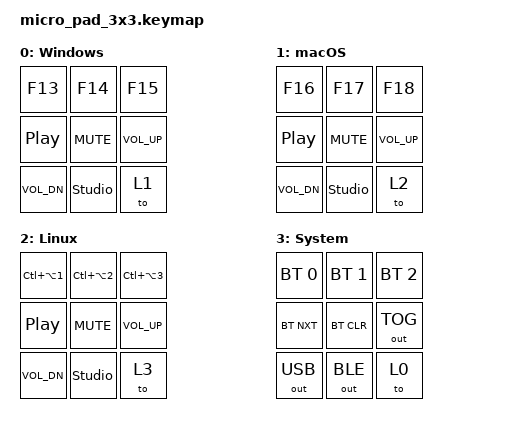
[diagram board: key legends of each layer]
#include <behaviors.dtsi>
#include <dt-bindings/zmk/bt.h>
#include <dt-bindings/zmk/keys.h>
#include <dt-bindings/zmk/outputs.h>

/ {
    keymap {
        compatible = "zmk,keymap";

        windows_layer {
            display-name = "Windows";
            bindings = <
                &kp F13        &kp F14          &kp F15
                &kp C_PP       &kp C_MUTE       &kp C_VOL_UP
                &kp C_VOL_DN   &studio_unlock   &to 1
            >;
        };

        macos_layer {
            display-name = "macOS";
            bindings = <
                &kp F16        &kp F17          &kp F18
                &kp C_PP       &kp C_MUTE       &kp C_VOL_UP
                &kp C_VOL_DN   &studio_unlock   &to 2
            >;
        };

        linux_layer {
            display-name = "Linux";
            bindings = <
                &kp LC(LA(N1)) &kp LC(LA(N2))   &kp LC(LA(N3))
                &kp C_PP       &kp C_MUTE       &kp C_VOL_UP
                &kp C_VOL_DN   &studio_unlock   &to 3
            >;
        };

        system_layer {
            display-name = "System";
            bindings = <
                &bt BT_SEL 0   &bt BT_SEL 1     &bt BT_SEL 2
                &bt BT_NXT     &bt BT_CLR       &out OUT_TOG
                &out OUT_USB   &out OUT_BLE     &to 0
            >;
        };
    };
};

